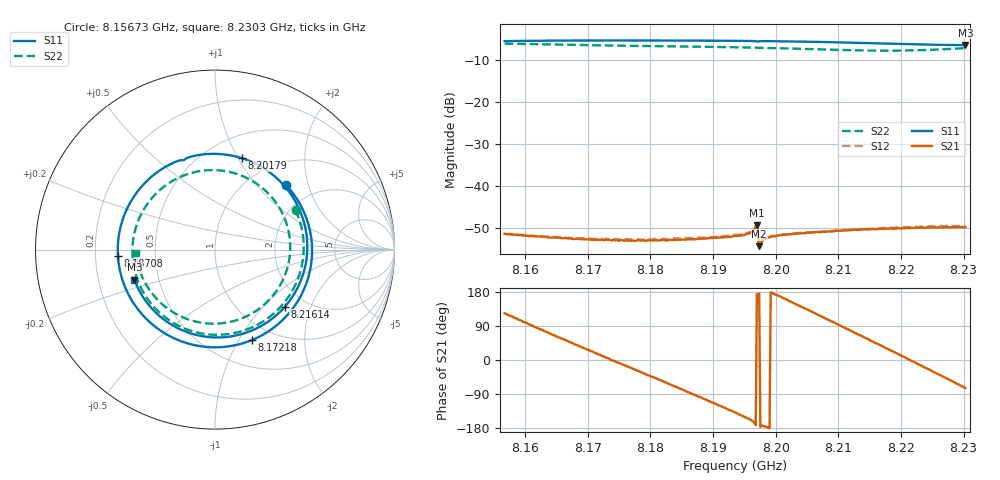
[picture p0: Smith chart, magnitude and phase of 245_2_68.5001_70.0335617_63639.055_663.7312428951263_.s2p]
#  HZ  S  RI  R  50.00
! Rohde & Schwarz Vector Network Analyzer
! Rohde-Schwarz,ZNB20-2Port,1311601062101988,3.16
! Created: UTC 3/20/2024, 4:59:36 PM
! freq[Hz]  re:S11  im:S11  re:S21  im:S21  re:S12  im:S12  re:S22  im:S22
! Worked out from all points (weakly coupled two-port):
!   401 points, 8.15673 GHz to 8.2303 GHz, reference 50 ohm
!   highest |S21| = -49.38 dB at 8.19701 GHz (marker M1); lowest = -54.3 dB at 8.19738 GHz (marker M2)
!   lowest |S11| = -6.4 dB at 8.2303 GHz (marker M3), VSWR 2.84, Z = 18.1 - j7.83 ohm
!   |S11| at or under -10 dB: nowhere
!   |S22| runs from -7.7 to -6.0 dB; largest |S21 - S12| = 0.00026
!   S11 on the Smith chart (normalised r, x): 8.15673 GHz: 1.43, +1.45; 8.17218 GHz: 0.80, -1.14; 8.18708 GHz: 0.30, -0.03; 8.20179 GHz: 0.73, +1.03; 8.21614 GHz: 1.57, -1.34; 8.2303 GHz: 0.36, -0.16
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8.156727e9  0.394 0.3615  -0.00149 0.00226  -0.00152 0.00225  0.4486 0.22
8.162981e9  0.5408 -0.0205  0.000574 0.00244  0.00055 0.00241  0.4667 -0.1505
8.169051e9  0.3822 -0.3872  0.00196 0.00131  0.00199 0.00133  0.2397 -0.4168
8.172177e9  0.2065 -0.5039  0.00225 0.000454  0.00231 0.000493  0.0686 -0.4713
8.176776e9  -0.1023 -0.5347  0.0021 -0.000777  0.00216 -0.000813  -0.1875 -0.4314
8.181374e9  -0.3791 -0.3894  0.00139 -0.00178  0.00146 -0.00185  -0.382 -0.2657
8.187076e9  -0.5409 -0.0368  -8.96e-05 -0.00231  -0.00011 -0.00241  -0.4581 0.0365
8.190203e9  -0.5105 0.1783  -0.000978 -0.00221  -0.00109 -0.00223  -0.4088 0.2019
8.193513e9  -0.3882 0.374  -0.00192 -0.00171  -0.00202 -0.00164  -0.2931 0.344
8.19664e9  -0.2032 0.4949  -0.00302 -0.000731  -0.0031 -0.000638  -0.1389 0.4252
8.197008e9  -0.177 0.498  -0.00338 0.000361  -0.00341 0.000464  -0.1189 0.4303
8.197376e9  -0.1616 0.5076  -0.00192 0.000149  -0.00195 0.000237  -0.0988 0.4348
8.197744e9  -0.1356 0.5173  -0.00212 -0.000239  -0.00218 -0.000158  -0.0783 0.4384
8.20179e9  0.1482 0.5099  -0.00246 0.000923  -0.00243 0.00111  0.1481 0.412
8.205837e9  0.386 0.3557  -0.00169 0.00227  -0.00161 0.00231  0.3327 0.2715
8.210987e9  0.5143 0.0197  0.000258 0.00295  0.0003 0.00296  0.4182 -0.0181
8.216137e9  0.3879 -0.32  0.00223 0.00214  0.0023 0.00208  0.2808 -0.3009
8.21816e9  0.2766 -0.4141  0.00278 0.00143  0.00288 0.00135  0.1723 -0.373
8.221103e9  0.0774 -0.4854  0.00318 0.000156  0.00327 3.18e-05  -0.0158 -0.4128
8.223862e9  -0.1207 -0.471  0.00301 -0.0011  0.00305 -0.00124  -0.1956 -0.3698
8.227357e9  -0.3365 -0.3443  0.00212 -0.00246  0.00206 -0.00265  -0.3734 -0.2119
8.2303e9  -0.4495 -0.1668  0.000891 -0.00313  0.000756 -0.00325  -0.4411 -0.0195
